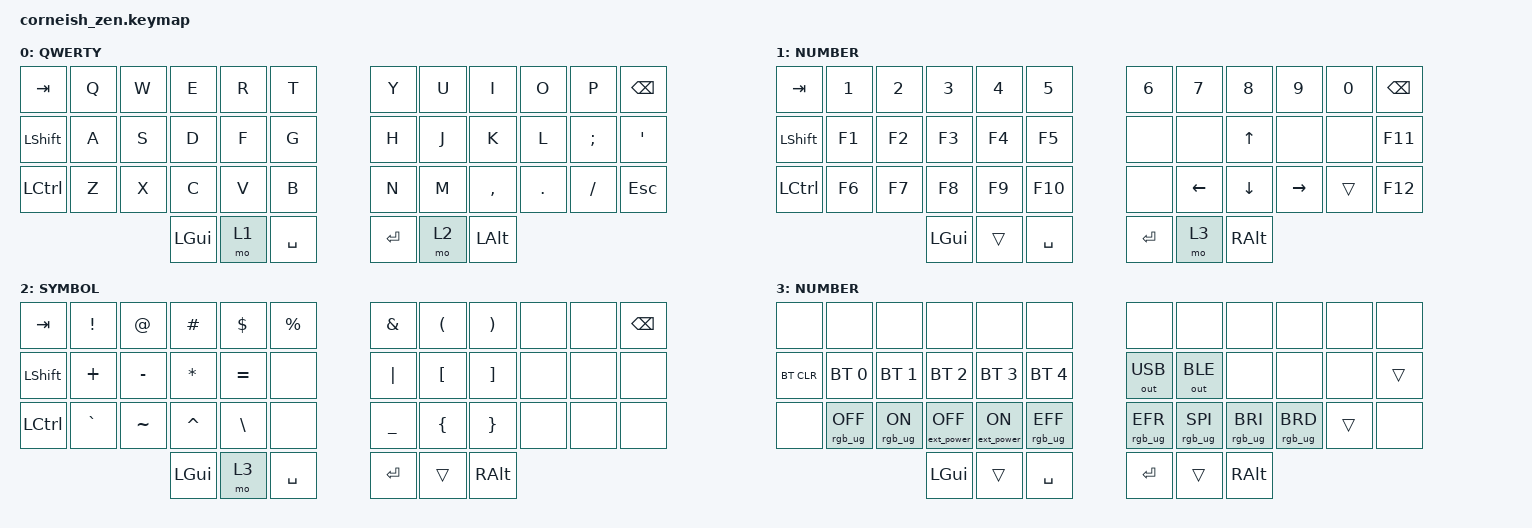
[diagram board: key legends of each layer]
/*
*
* Copyright (c) 2021 Darryl deHaan
* SPDX-License-Identifier: MIT
*
*/

#include <behaviors.dtsi>
#include <dt-bindings/zmk/bt.h>
#include <dt-bindings/zmk/ext_power.h>
#include <dt-bindings/zmk/keys.h>
#include <dt-bindings/zmk/outputs.h>
#include <dt-bindings/zmk/rgb.h>

/ {
    chosen {
        zmk,matrix_transform = &default_transform;

        // zmk,matrix_transform = &five_column_transform;
    };
};

/ {
    keymap {
        compatible = "zmk,keymap";

        default_layer {
            display-name = "QWERTY";

            // --------------------------------------------------------------------------------
            // |  TAB |  Q  |  W  |  E  |  R  |  T  |   |  Y  |  U   |  I  |  O  |  P  | BKSP |
            // | CTRL |  A  |  S  |  D  |  F  |  G  |   |  H  |  J   |  K  |  L  |  ;  |  '   |
            // | SHFT |  Z  |  X  |  C  |  V  |  B  |   |  N  |  M   |  ,  |  .  |  /  | ESC  |
            //                    | GUI | LWR | SPC |   | ENT | RSE  | ALT |

            bindings = <
&kp TAB    &kp Q  &kp W  &kp E     &kp R  &kp T        &kp Y    &kp U  &kp I         &kp O    &kp P     &kp BSPC
&kp LSHFT  &kp A  &kp S  &kp D     &kp F  &kp G        &kp H    &kp J  &kp K         &kp L    &kp SEMI  &kp SQT
&kp LCTRL  &kp Z  &kp X  &kp C     &kp V  &kp B        &kp N    &kp M  &kp COMMA     &kp DOT  &kp FSLH  &kp ESC
                         &kp LGUI  &mo 1  &kp SPACE    &kp RET  &mo 2  &kp LEFT_ALT
            >;
        };

        lower_layer {
            display-name = "NUMBER";

            // -----------------------------------------------------------------------------------------
            // |  TAB |  1  |  2  |  3  |  4  |  5  |   |  6  |  7  |  8  |  9  |  0  | BKSP |
            // | BTCLR| BT1 | BT2 | BT3 | BT4 | BT5 |   | LFT | DWN |  UP | RGT |     |      |
            // | SHFT |     |     |     |     |     |   |     |     |     |     |     |      |
            //                    | GUI |     | SPC |   | ENT |     | ALT |

            bindings = <
&kp TAB    &kp N1  &kp N2  &kp N3    &kp N4  &kp N5       &kp N6   &kp N7    &kp N8    &kp N9     &kp N0  &kp BSPC
&kp LSHFT  &kp F1  &kp F2  &kp F3    &kp F4  &kp F5       &none    &none     &kp UP    &none      &none   &kp F11
&kp LCTRL  &kp F6  &kp F7  &kp F8    &kp F9  &kp F10      &none    &kp LEFT  &kp DOWN  &kp RIGHT  &trans  &kp F12
                           &kp LGUI  &trans  &kp SPACE    &kp RET  &mo 3     &kp RALT
            >;
        };

        raise_layer {
            display-name = "SYMBOL";

            // -----------------------------------------------------------------------------------------
            // |  TAB |  !  |  @  |  #  |  $  |  %  |   |  ^  |  &  |  *  |  (  |  )  | BKSP |
            // | CTRL |     |     |     |     |     |   |  -  |  =  |  [  |  ]  |  \  |  `   |
            // | SHFT |     |     |     |     |     |   |  _  |  +  |  {  |  }  | "|" |  ~   |
            //                    | GUI |     | SPC |   | ENT |     | ALT |

            bindings = <
&kp TAB    &kp EXCL   &kp AT     &kp HASH   &kp DLLR   &kp PRCNT    &kp AMPS   &kp LPAR  &kp RPAR  &none  &none  &kp BSPC
&kp LSHFT  &kp PLUS   &kp MINUS  &kp STAR   &kp EQUAL  &none        &kp PIPE   &kp LBKT  &kp RBKT  &none  &none  &none
&kp LCTRL  &kp GRAVE  &kp TILDE  &kp CARET  &kp BSLH   &none        &kp UNDER  &kp LBRC  &kp RBRC  &none  &none  &none
                                 &kp LGUI   &mo 3      &kp SPACE    &kp RET    &trans    &kp RALT
            >;
        };

        control_layer {
            display-name = "NUMBER";
            bindings = <
&none       &none            &none           &none              &none             &none              &none            &none            &none            &none            &none   &none
&bt BT_CLR  &bt BT_SEL 0     &bt BT_SEL 1    &bt BT_SEL 2       &bt BT_SEL 3      &bt BT_SEL 4       &out OUT_USB     &out OUT_BLE     &none            &none            &none   &trans
&none       &rgb_ug RGB_OFF  &rgb_ug RGB_ON  &ext_power EP_OFF  &ext_power EP_ON  &rgb_ug RGB_EFF    &rgb_ug RGB_EFR  &rgb_ug RGB_SPI  &rgb_ug RGB_BRI  &rgb_ug RGB_BRD  &trans  &none
                                             &kp LGUI           &trans            &kp SPACE          &kp RET          &trans           &kp RALT
            >;
        };
    };
};
